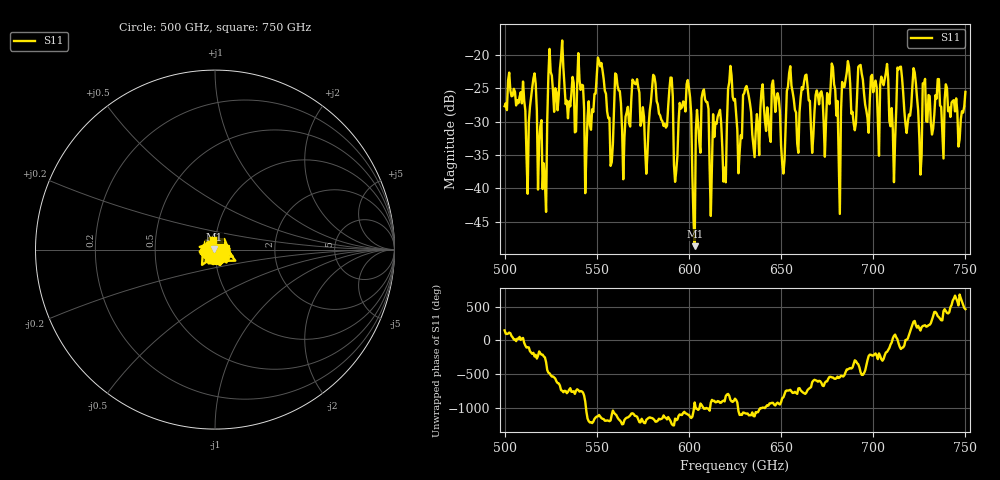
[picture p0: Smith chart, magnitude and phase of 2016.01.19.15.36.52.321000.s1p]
!Created with skrf (http://scikit-rf.org).
# GHz S RI R 50.0
!freq ReS11 ImS11
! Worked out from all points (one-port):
!   401 points, 500 GHz to 750 GHz, reference 50 ohm
!   lowest |S11| = -48.7 dB at 603.1 GHz (marker M1), VSWR 1.01, Z = 49.7 + j0.14 ohm
!   |S11| at or under -10 dB: start of sweep to end of sweep
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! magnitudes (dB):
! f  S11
! 500 GHz  -27.7
! 512.5 GHz  -40.8
! 515.6 GHz  -23.5
! 521.9 GHz  -39.0
! 524.4 GHz  -19.1
! 531.2 GHz  -17.8
! 545 GHz  -29.4
! 551.2 GHz  -20.9
! 557.5 GHz  -36.6
! 562.5 GHz  -25.4
! 576.9 GHz  -37.8
! 590 GHz  -23.4
! 593.8 GHz  -35.1
! 600 GHz  -24.9
! 603.1 GHz  -48.7
! 608.1 GHz  -25.1
! 612.5 GHz  -36.2
! 625 GHz  -26.6
! 646.2 GHz  -25.9
! 651.2 GHz  -37.8
! 656.2 GHz  -25.5
! 678.1 GHz  -21.8
! 681.2 GHz  -35.3
! 687.5 GHz  -24.3
! 710.6 GHz  -31.2
! 714.4 GHz  -21.8
! 718.8 GHz  -30.0
! 750 GHz  -25.5
